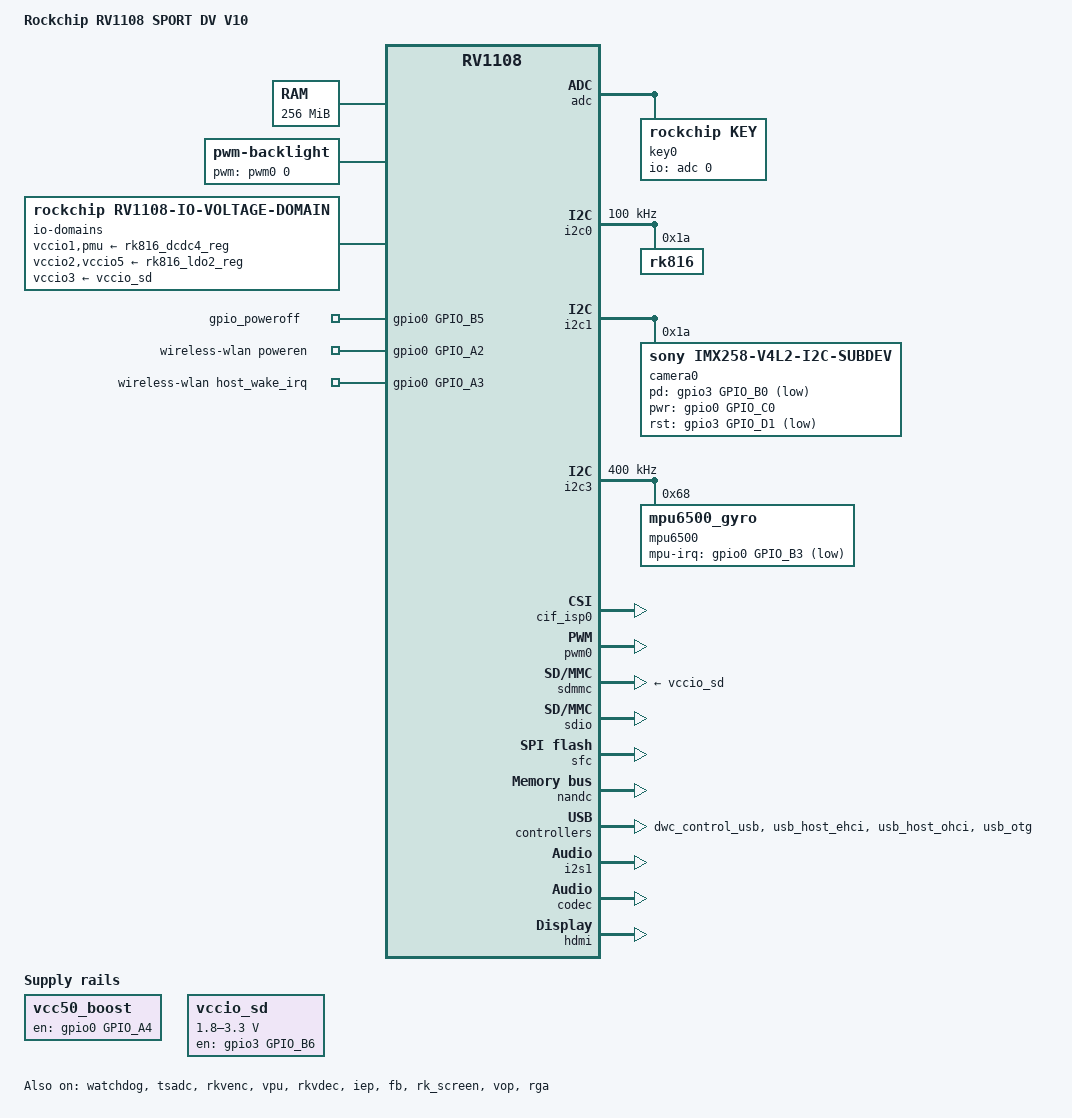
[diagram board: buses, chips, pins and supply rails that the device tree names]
/*
 * Copyright (c) 2017 Fuzhou Rockchip Electronics Co., Ltd
 *
 * This file is dual-licensed: you can use it either under the terms
 * of the GPL or the X11 license, at your option. Note that this dual
 * licensing only applies to this file, and not this project as a
 * whole.
 *
 *  a) This file is free software; you can redistribute it and/or
 *     modify it under the terms of the GNU General Public License as
 *     published by the Free Software Foundation; either version 2 of the
 *     License, or (at your option) any later version.
 *
 *     This file is distributed in the hope that it will be useful,
 *     but WITHOUT ANY WARRANTY; without even the implied warranty of
 *     MERCHANTABILITY or FITNESS FOR A PARTICULAR PURPOSE.  See the
 *     GNU General Public License for more details.
 *
 * Or, alternatively,
 *
 *  b) Permission is hereby granted, free of charge, to any person
 *     obtaining a copy of this software and associated documentation
 *     files (the "Software"), to deal in the Software without
 *     restriction, including without limitation the rights to use,
 *     copy, modify, merge, publish, distribute, sublicense, and/or
 *     sell copies of the Software, and to permit persons to whom the
 *     Software is furnished to do so, subject to the following
 *     conditions:
 *
 *     The above copyright notice and this permission notice shall be
 *     included in all copies or substantial portions of the Software.
 *
 *     THE SOFTWARE IS PROVIDED "AS IS", WITHOUT WARRANTY OF ANY KIND,
 *     EXPRESS OR IMPLIED, INCLUDING BUT NOT LIMITED TO THE WARRANTIES
 *     OF MERCHANTABILITY, FITNESS FOR A PARTICULAR PURPOSE AND
 *     NONINFRINGEMENT. IN NO EVENT SHALL THE AUTHORS OR COPYRIGHT
 *     HOLDERS BE LIABLE FOR ANY CLAIM, DAMAGES OR OTHER LIABILITY,
 *     WHETHER IN AN ACTION OF CONTRACT, TORT OR OTHERWISE, ARISING
 *     FROM, OUT OF OR IN CONNECTION WITH THE SOFTWARE OR THE USE OR
 *     OTHER DEALINGS IN THE SOFTWARE.
 */

/dts-v1/;

#include "rv1108.dtsi"
#include "lcd-zh020b2232a-srgb.dtsi"

#include "dt-bindings/suspend/rockchip-pm.h"

/ {
	model = "Rockchip RV1108 SPORT DV V10";
	compatible = "rockchip,rv1108-sportdv-v10", "rockchip,rv1108";

	memory {
		device_type = "memory";
		reg = <0x60000000 0x10000000>;
	};

	fiq-debugger {
		status = "okay";
		rockchip,serial-id = <2>;
		pinctrl-0 = <&uart2m0_xfer>;
	};

	rockchip_suspend: rockchip_suspend {
		rockchip,ctrbits = <
			(0
			|RKPM_CTR_GTCLKS
			|RKPM_CTR_PLLS
			/*|RKPM_CTR_ARMOFF_LPMD*/
			|RKPM_CTR_ARMLOGDP_LPMD
			/*|RKPM_CTR_IDLESRAM_MD*/
			|RKPM_CTR_DDR
			|RKPM_CTR_PMIC
			/*|RKPM_CTR_BUS_IDLE*/
			|RKPM_CTR_SYSCLK_32K
			)
			>;
		rockchip,pmic-suspend_gpios = <0>;
	};

	chosen {
		bootargs = "rockchip_jtag noinitrd root=/dev/mtdblock3 rootfstype=squashfs";
	};

	ion {
		compatible = "rockchip,ion";
		#address-cells = <1>;
		#size-cells = <0>;

		/* memory region for dsp pool, start from 0x62000000 */
		dsp {
			compatible = "rockchip,ion-heap";
			rockchip,ion_heap = <2>;
			reg = <0x62000000 0x100000>; /* 1MB@32M */
		};
		ion_cma: rockchip,ion-heap@4 { /* CMA HEAP */
			compatible = "rockchip,ion-heap";
			rockchip,ion_heap = <4>;
			reg = <0x00000000 0x0a000000>; /* 160MB */
		};
		rockchip,ion-heap@0 { /* VMALLOC HEAP */
			compatible = "rockchip,ion-heap";
			rockchip,ion_heap = <0>;
		};
	};

	backlight: backlight {
		compatible = "pwm-backlight";
		pwms = <&pwm0 0 25000>;
		brightness-levels = <
			  0   1   2   3   4   5   6   7
			  8   9  10  11  12  13  14  15
			 16  17  18  19  20  21  22  23
			 24  25  26  27  28  29  30  31
			 32  33  34  35  36  37  38  39
			 40  41  42  43  44  45  46  47
			 48  49  50  51  52  53  54  55
			 56  57  58  59  60  61  62  63
			 64  65  66  67  68  69  70  71
			 72  73  74  75  76  77  78  79
			 80  81  82  83  84  85  86  87
			 88  89  90  91  92  93  94  95
			 96  97  98  99 100 101 102 103
			104 105 106 107 108 109 110 111
			112 113 114 115 116 117 118 119
			120 121 122 123 124 125 126 127
			128 129 130 131 132 133 134 135
			136 137 138 139 140 141 142 143
			144 145 146 147 148 149 150 151
			152 153 154 155 156 157 158 159
			160 161 162 163 164 165 166 167
			168 169 170 171 172 173 174 175
			176 177 178 179 180 181 182 183
			184 185 186 187 188 189 190 191
			192 193 194 195 196 197 198 199
			200 201 202 203 204 205 206 207
			208 209 210 211 212 213 214 215
			216 217 218 219 220 221 222 223
			224 225 226 227 228 229 230 231
			232 233 234 235 236 237 238 239
			240 241 242 243 244 245 246 247
			248 249 250 251 252 253 254 255>;
		default-brightness-level = <200>;
	};

	io-domains {
		compatible = "rockchip,rv1108-io-voltage-domain";
		rockchip,grf = <&grf>;
		rockchip,pmugrf = <&pmugrf>;

		/* GRF_IO_VSEL */
		status = "okay";
		vccio1-supply = <&rk816_dcdc4_reg>;
		vccio2-supply = <&rk816_ldo2_reg>;
		vccio3-supply = <&vccio_sd>;
		vccio5-supply = <&rk816_ldo2_reg>;

		/* PMU_GRF_IO_VSEL */
		pmu-supply = <&rk816_dcdc4_reg>;
	};

	/* pmic_sleep */
	gpio_poweroff {
		compatible = "gpio-poweroff";
		gpios = <&gpio0 GPIO_B5 GPIO_ACTIVE_HIGH>;
		status = "okay";
	};

	wireless-wlan {
		compatible = "wlan-platdata";
		wifi_chip_type = "rtl8189es";
		sdio_vref = <0>;
		WIFI,poweren_gpio = <&gpio0 GPIO_A2 GPIO_ACTIVE_HIGH>;
		WIFI,host_wake_irq = <&gpio0 GPIO_A3 GPIO_ACTIVE_HIGH>;
		status = "okay";
	};

	rockchip_audio {
		compatible = "rockchip,rv1108-audio";
		dais {
			dai0 {
				audio-codec = <&codec>;
				audio-controller = <&i2s1>;
				format = "i2s";
			};
		};
	};

	vcc50_boost: vcc50-boost {
		compatible = "regulator-fixed";
		enable-active-high;
		gpio = <&gpio0 GPIO_A4 GPIO_ACTIVE_HIGH>;
		pinctrl-names = "default";
		pinctrl-0 = <&vcc50_boost_en>;
		regulator-name = "vcc50_boost";
		regulator-always-on;
		regulator-boot-on;

		status = "okay";
	};

	vccio_sd: vccio-sd {
		compatible = "regulator-gpio";

		regulator-min-microvolt = <1800000>;
		regulator-max-microvolt = <3300000>;
		regulator-name = "vccio_sd";
		regulator-type = "voltage";

		enable-active-high;
		enable-at-boot;
		enable-gpio = <&gpio3 GPIO_B6 GPIO_ACTIVE_LOW>;
		gpios = <&gpio0 GPIO_A5 GPIO_ACTIVE_HIGH>;

		states = <
			1800000 0x0
			3300000 0x1
			>;

		status = "okay";
	};
};

&rockchip_clocks_init {
	rockchip,clocks-init-rate =
		<&clk_gpll 1188000000>, <&clk_core 800000000>,
		<&clk_dsp 396000000>, <&aclk_bus_pre 150000000>,
		<&hclk_bus_pre 150000000>, <&pclk_bus_pre 75000000>,
		<&aclk_peri 150000000>, <&hclk_peri 150000000>,
		<&pclk_peri 75000000>, <&aclk_vio0_pre 300000000>,
		<&aclk_vio1_pre 300000000>, <&hclk_vio_pre 75000000>,
		<&pclk_vio_pre 75000000>, <&aclk_rkvdec_pre 300000000>,
		<&aclk_vpu_pre 300000000>, <&clk_hevc_cabac 300000000>,
		<&clk_hevc_core 300000000>, <&aclk_rkvenc_pre 300000000>,
		<&clk_venc_core 480000000>, <&clk_crypto 150000000>,
		<&clk_nandc 150000000>, <&clk_i2s0_pll 594000000>,
		<&clk_i2s1_pll 594000000>, <&clk_i2s2_pll 594000000>,
		<&clk_uart0_pll 297000000>, <&clk_uart1_pll 297000000>,
		<&clk_uart2_pll 297000000>, <&clk_rga 300000000>;
};

&clk_core_dvfs_table {

	operating-points = <
		/* KHz	  uV */
		408000 975000
		600000 975000
		816000 1025000
		1008000 1150000
		>;
	lkg_adjust_volt_table = <
		/*lkg(mA)  volt(uV)*/
		60         25000
		>;
	status = "okay";
};

&watchdog {
	status = "okay";
	rockchip,timeout = <5>;
	rockchip,atboot = <0>;
};

&adc {
	status = "okay";

	key0 {
		compatible = "rockchip,key";
		io-channels = <&adc 0>;
		adc-drift = <45>;

		enter-key {
			linux,code = <28>;
			label = "volume down";
			rockchip,adc_value = <1>;
		};

		up-key {
			linux,code = <103>;
			label = "up";
			rockchip,adc_value = <238>;
		};

		down-key {
			linux,code = <108>;
			label = "down";
			rockchip,adc_value = <453>;
		};
	};
};

&i2c0 {
	status = "okay";

	i2c-scl-rising-time-ns = <275>;
	i2c-scl-falling-time-ns = <16>;
	clock-frequency = <100000>;
	nack-retry = <1>;

	rk816: rk816@1a {
		reg = <0x1a>;
		status = "okay";
	};
};

&i2c1 {
	status = "okay";

	camera0: camera-module@1a {
		status = "okay";
		compatible = "sony,imx258-v4l2-i2c-subdev";
		reg = <0x1a>;
		device_type = "v4l2-i2c-subdev";
		clocks = <&clk_mipicsi_out>;
		clock-names = "clk_mipicsi_out";
		pinctrl-names = "rockchip,camera_default", "rockchip,camera_sleep";
		pinctrl-0 = <&cam0_default_pins>;
		pinctrl-1 = <&cam0_sleep_pins>;
		rockchip,pd-gpio = <&gpio3 GPIO_B0 GPIO_ACTIVE_LOW>;
		rockchip,pwr-gpio = <&gpio0 GPIO_C0 GPIO_ACTIVE_HIGH>;
		rockchip,rst-gpio = <&gpio3 GPIO_D1 GPIO_ACTIVE_LOW>;
		rockchip,camera-module-mclk-name = "clk_mipicsi_out";
		rockchip,camera-module-regulator-names = "dovdd_cam", "avdd_cam";
		rockchip,camera-module-regulator-voltages = <1800000 2800000>;
		rockchip,camera-module-facing = "back";
		rockchip,camera-module-name = "JL1117-B";
		rockchip,camera-module-len-name = "YM6011P";
		rockchip,camera-module-fov-h = "116";
		rockchip,camera-module-fov-v = "61";
		rockchip,camera-module-orientation = <0>;
		rockchip,camera-module-iq-flip = <0>;
		rockchip,camera-module-iq-mirror = <0>;
		rockchip,camera-module-flip = <0>;
		rockchip,camera-module-mirror = <0>;
		rockchip,camera-module-defrect0 = <3264 1836 0 0 3264 1836>;
		rockchip,camera-module-flash-support = <0>;
		rockchip,camera-module-mipi-dphy-index = <0>;
	};
};

&i2c3 {
	status = "okay";
	clock-frequency = <400000>;

	mpu6500: mpu6500@68 {
		compatible = "mpu6500_gyro";
		reg = <0x68>;
		type = <4>;
		poll_delay_ms = <5>;
		orientation-x= <1>;
		orientation-y= <1>;
		orientation-z= <0>;
		support-hw-poweroff = <1>;
		mpu-int_config = <0x10>;
		mpu-level_shifter = <0>;
		mpu-orientation = <1 0 0 0 1 0 0 0 1>;
		mpu-irq = <1>;
		mpu-fifo-enable = <1>;
		mpu-static-judge = <1>;
		mpu-sample-rate = <200>;
		mpu-irq-gpio = <&gpio0 GPIO_B3 GPIO_ACTIVE_LOW>;
		status = "okay";
	};
};

&cif_isp0 {
	rockchip,camera-modules-attached = <&camera0>;
	status = "okay";
};

&gmac_clkin {
	clock-frequency = <50000000>;
};

&gmac {
	status = "disabled";
};

&pwm0 {
	status = "okay";
};

&sdmmc {
	clock-frequency = <150000000>;
	clock-freq-min-max = <200000 150000000>;
	supports-highspeed;
	supports-sd;
	supports-UHS_SDR104;
	broken-cd;
	card-detect-delay = <200>;
	ignore-pm-notify;
	keep-power-in-suspend;
	power-inverted;
	vmmc-supply = <&vccio_sd>;
	status = "okay";
};

&sdio {
	clock-frequency = <50000000>;
	clock-freq-min-max = <200000 50000000>;
	supports-highspeed;
	supports-sdio;
	ignore-pm-notify;
	keep-power-in-suspend;
	cap-sdio-irq;
	status = "okay";
};

&sfc {
	status = "okay";
};

&nandc {
	status = "okay";
};

#include "rv1108-rk816-v10.dtsi" /* rk816 v10 */

&dwc_control_usb {
	rockchip,remote_wakeup;
	rockchip,usb_irq_wakeup;
	status = "okay";
};

&tsadc {
	status = "okay";
};

&usb_host_ehci {
	status = "okay";
};

&usb_host_ohci {
	status = "okay";
};

&usb_otg {
	status = "okay";
};

&rkvenc {
	status = "okay";
};

&vpu {
	status = "okay";
};

&rkvdec {
	status = "okay";
};

&iep {
	status = "okay";
};

&fb {
	status = "okay";
};

&rk_screen {
	status = "okay";
	screen_init: screen_init {
		screen-init-type = <SCREEN_INIT_SPI_9BIT>;
		pinctrl-0 = <&lcd_cs &lcd_rst &spi_clk &spi_sdi>;
		cs-gpio  = <&gpio1 GPIO_D1 GPIO_ACTIVE_LOW>;
		rst-gpio = <&gpio0 GPIO_C3 GPIO_ACTIVE_LOW>;
		scl-gpio = <&gpio1 GPIO_D0 GPIO_ACTIVE_LOW>;
		sdi-gpio = <&gpio1 GPIO_D3 GPIO_ACTIVE_LOW>;
	};
};

&mipi_dsi {
	status = "disabled";
};

&vop {
	status = "okay";
	backlight = <&backlight>;
	power_ctr: power_ctr {
		rockchip,debug = <0>;
	};
};

&rga {
	status = "okay";
};

&i2s1 {
	status = "okay";
};

&codec {
	spk_ctl_io = <&gpio0 GPIO_B0 GPIO_ACTIVE_HIGH>;
	status = "okay";
};

&hdmi {
	status = "okay";
};

&pinctrl {
	lcd {
		lcd_cs: lcd-cs {
			rockchip,pins = <1 GPIO_D1 RK_FUNC_GPIO &pcfg_pull_none>;
		};

		lcd_rst: lcd-rst {
			rockchip,pins = <0 GPIO_C3 RK_FUNC_GPIO &pcfg_pull_none>;
		};

		spi_clk: spi-clk {
			rockchip,pins = <1 GPIO_D0 RK_FUNC_GPIO &pcfg_pull_none>;
		};

		spi_sdi: spi-sdi {
			rockchip,pins = <1 GPIO_D3 RK_FUNC_GPIO &pcfg_pull_none>;
		};
	};

	hdmi {
		vcc50_boost_en: vcc50-boost-en {
			rockchip,pins = <0 GPIO_A4 RK_FUNC_GPIO &pcfg_pull_none>;
		};
	};
};
